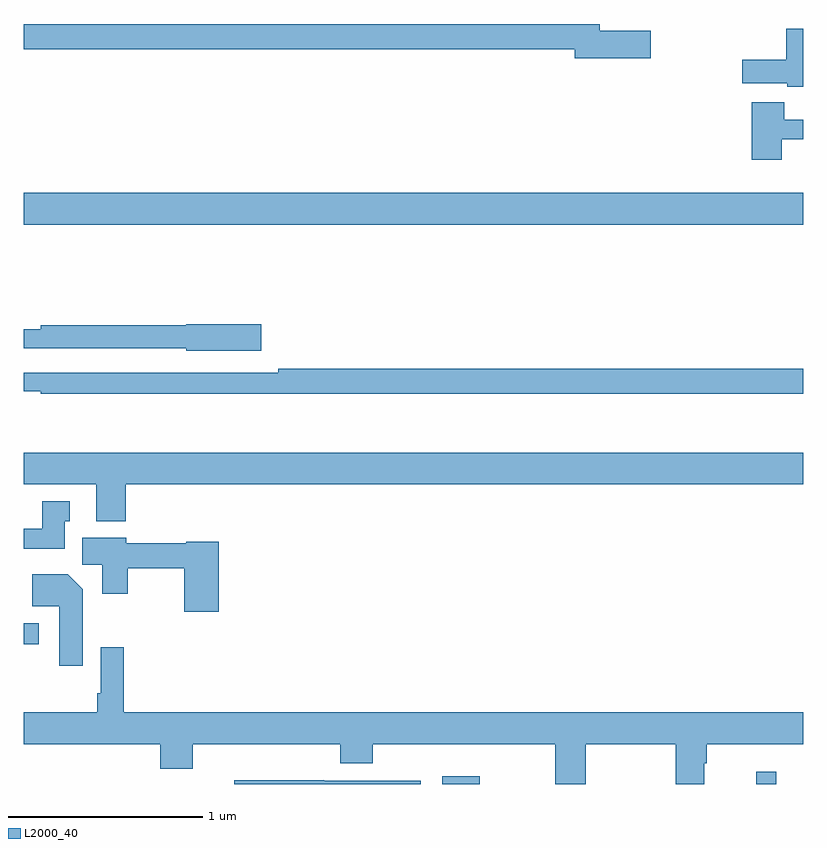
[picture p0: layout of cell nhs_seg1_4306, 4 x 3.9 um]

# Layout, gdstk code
import gdstk
lib = gdstk.Library(unit=1e-6, precision=1e-09)
def R(c, l, rs):  # rectangles x0, y0, x1, y1
    for r in rs: c.add(gdstk.rectangle(r[:2], r[2:], *l))
def P(c, l, *ps):  # polygons
    for p in ps: c.add(gdstk.Polygon(p, *l))
L2000_40 = (2000, 40)

nhs_seg1_4306 = lib.new_cell('nhs_seg1_4306')
R(nhs_seg1_4306, L2000_40, [(347.148,546.199,347.341,546.238), (348.76,546.199,348.862,546.262), (345,546.915,345.076,547.023), (345,549.068,349,549.232)])
P(nhs_seg1_4306, L2000_40, [(348.217,550.065),(347.956,550.065),(347.956,550.099),(345,550.099),(345,549.97),(347.828,549.97),(347.828,549.923),(348.217,549.923)],
  [(349,550.075),(348.914,550.075),(348.914,549.916),(348.687,549.916),(348.687,549.794),(348.918,549.794),(348.918,549.776),(349,549.776)],
  [(348.889,549.507),(349,549.507),(349,549.607),(348.902,549.607),(348.902,549.697),(348.737,549.697),(348.737,549.402),(348.889,549.402)],
  [(346.219,548.558),(345.834,548.558),(345.834,548.552),(345.088,548.552),(345.088,548.533),(345,548.533),(345,548.436),(345.834,548.436),(345.834,548.423),(346.219,548.423)],
  [(349,548.33),(346.306,548.33),(346.306,548.31),(345,548.31),(345,548.214),(345.088,548.214),(345.088,548.202),(349,548.202)],
  [(345.524,547.736),(349,547.736),(349,547.9),(345,547.9),(345,547.736),(345.371,547.736),(345.371,547.547),(345.524,547.547)],
  [(345.211,547.548),(345.235,547.548),(345.235,547.651),(345.095,547.651),(345.095,547.51),(345,547.51),(345,547.406),(345.211,547.406)],
  [(346.001,547.443),(345.834,547.443),(345.834,547.435),(345.526,547.435),(345.526,547.462),(345.299,547.462),(345.299,547.324),(345.404,547.324),(345.404,547.176),(345.534,547.176),(345.534,547.306),(345.823,547.306),(345.823,547.083),(346.001,547.083)],
  [(345.304,547.198),(345.226,547.276),(345.043,547.276),(345.043,547.112),(345.182,547.112),(345.182,546.807),(345.304,546.807)],
  [(347.883,546.404),(348.346,546.404),(348.346,546.199),(348.493,546.199),(348.493,546.306),(348.506,546.306),(348.506,546.404),(349,546.404),(349,546.568),(345.512,546.568),(345.512,546.901),(345.396,546.901),(345.396,546.664),(345.376,546.664),(345.376,546.568),(345,546.568),(345,546.404),(345.701,546.404),(345.701,546.276),(345.866,546.276),(345.866,546.404),(346.625,546.404),(346.625,546.305),(346.79,546.305),(346.79,546.404),(347.728,546.404),(347.728,546.199),(347.883,546.199)],
  [(347.037,546.216),(346.541,546.216),(346.541,546.218),(346.08,546.218),(346.08,546.199),(347.037,546.199)])

lib.write_gds('nhs_seg1_4306.gds')
